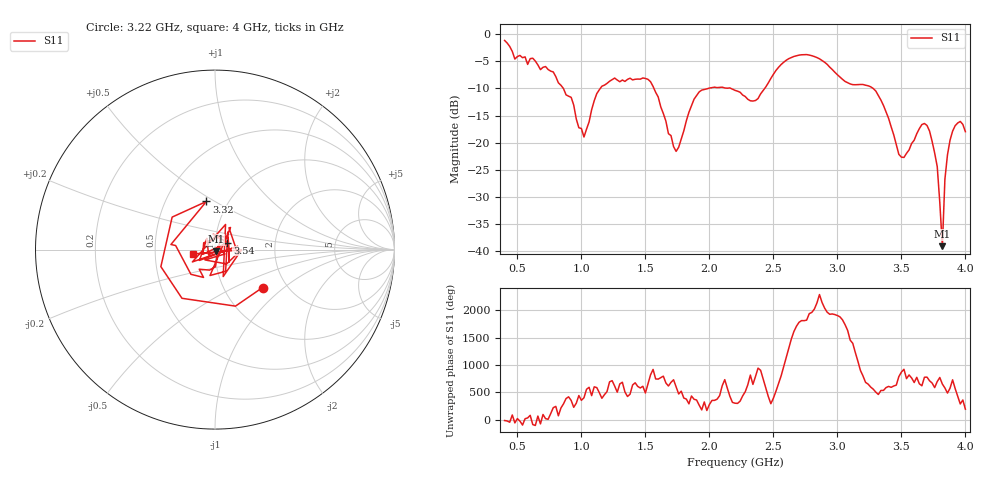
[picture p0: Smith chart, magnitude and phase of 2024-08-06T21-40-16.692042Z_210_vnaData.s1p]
!Created with skrf (http://scikit-rf.org).
# Hz S RI R 50.0
!freq ReS11 ImS11
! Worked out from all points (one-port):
!   181 points, 400 MHz to 4 GHz, reference 50 ohm
!   lowest |S11| = -39.1 dB at 3.82 GHz (marker M1), VSWR 1.02, Z = 50.4 - j1.05 ohm
!   |S11| at or under -10 dB: 859.6 MHz to 1.147 GHz (287.6 MHz wide, 28.7 % of centre); 1.567 GHz to 1.989 GHz (422.5 MHz wide, 23.8 % of centre); 3.28 GHz to end of sweep (the widest 3 of 4)
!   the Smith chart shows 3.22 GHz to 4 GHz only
!   S11 on the Smith chart (normalised r, x): 3.22 GHz: 1.51, -0.72; 3.32 GHz: 0.79, +0.46; 3.54 GHz: 1.15, +0.09; 4 GHz: 0.78, -0.04
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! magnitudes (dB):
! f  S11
! 400 MHz  -1.1
! 480 MHz  -4.6
! 620 MHz  -4.4
! 860 MHz  -10.0
! 1.02 GHz  -19.0
! 1.12 GHz  -11.0
! 1.3 GHz  -8.8
! 1.54 GHz  -8.7
! 1.72 GHz  -20.7
! 1.76 GHz  -20.8
! 1.92 GHz  -10.6
! 2.2 GHz  -10.3
! 2.36 GHz  -12.2
! 2.66 GHz  -4.1
! 3.1 GHz  -9.2
! 3.22 GHz  -9.4
! 3.32 GHz  -11.3
! 3.48 GHz  -22.2
! 3.54 GHz  -22.0
! 3.56 GHz  -21.3
! 3.66 GHz  -16.7
! 3.72 GHz  -17.9
! 3.78 GHz  -24.4
! 3.82 GHz  -39.1
! 3.84 GHz  -26.7
! 3.88 GHz  -19.5
! 3.96 GHz  -16.1
! 4 GHz  -18.0
